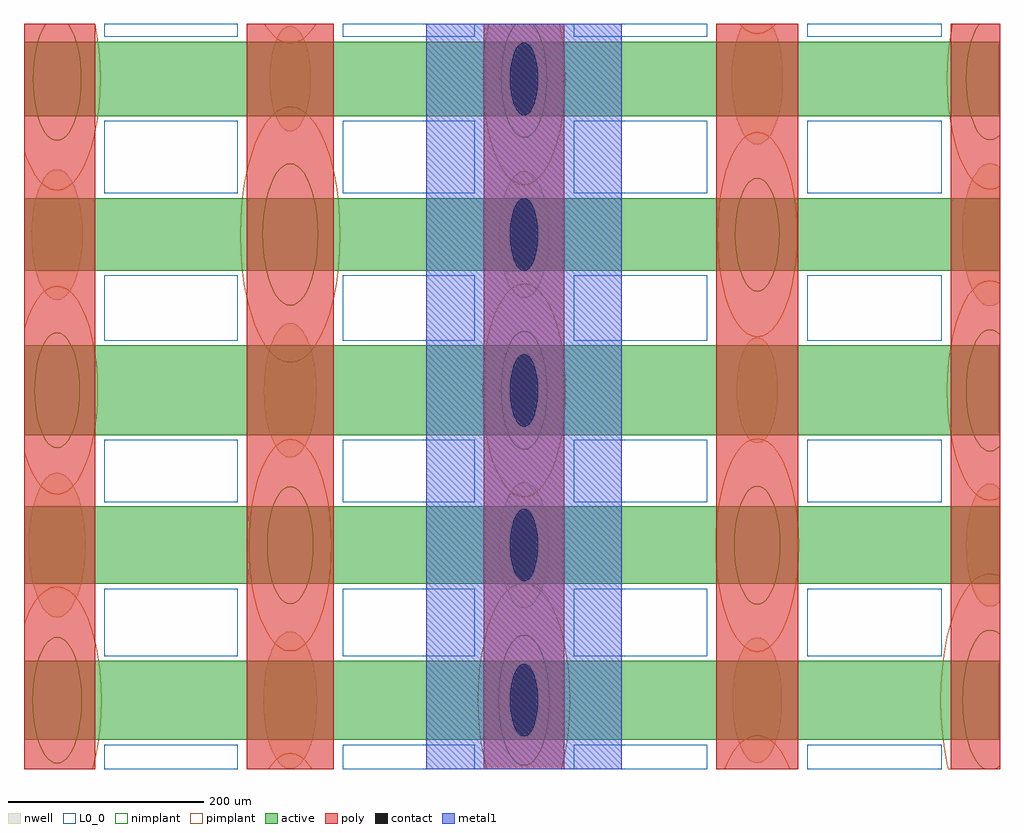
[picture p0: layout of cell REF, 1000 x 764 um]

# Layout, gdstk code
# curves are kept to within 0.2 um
import gdstk
lib = gdstk.Library(unit=1e-6, precision=1e-09)
def R(c, l, rs):  # rectangles x0, y0, x1, y1
    for r in rs: c.add(gdstk.rectangle(r[:2], r[2:], *l))
def P(c, l, *ps):  # polygons
    for p in ps: c.add(gdstk.Polygon(p, *l))
L0_0 = (0, 0)
active = (1, 0)
nwell = (2, 0)
poly = (3, 0)
nimplant = (4, 0)
pimplant = (5, 0)
contact = (6, 0)
metal1 = (7, 0)

ref = lib.new_cell('REF')
R(ref, L0_0, [(82.23,0,218.872,25.085), (326.667,0,461.779,25.085), (563.039,0,699.887,25.085), (802.755,0,940.079,25.085), (82.23,116.033,218.872,185.249), (326.667,116.033,461.779,185.249), (563.039,116.033,699.887,185.249), (802.755,116.033,940.079,185.249), (82.23,273.718,218.872,337.834), (326.667,273.718,461.779,337.834), (563.039,273.718,699.887,337.834), (802.755,273.718,940.079,337.834), (82.23,438.991,218.872,506.098), (326.667,438.991,461.779,506.098), (563.039,438.991,699.887,506.098), (802.755,438.991,940.079,506.098), (82.23,590.103,218.872,664.305), (326.667,590.103,461.779,664.305), (563.039,590.103,699.887,664.305), (802.755,590.103,940.079,664.305), (82.23,750.696,218.872,764), (326.667,750.696,461.779,764), (563.039,750.696,699.887,764), (802.755,750.696,940.079,764)])
R(ref, active, [(0,30.303,1000,111.314), (0,189.969,1000,269.347), (0,342.205,1000,434.416), (0,510.674,1000,585.044), (0,669.364,1000,745.638)])
P(ref, nwell, [(754.744,640.633),(758.124,642.354),(761.387,645.19),(764.478,649.092),(767.343,653.994),(769.934,659.81),(772.206,666.443),(774.121,673.779),(775.645,681.691),(776.753,690.045),(777.425,698.698),(777.65,707.501),(777.425,716.304),(776.753,724.957),(775.645,733.311),(774.121,741.223),(772.206,748.559),(769.934,755.192),(767.343,761.009),(765.595,764),(737.015,764),(735.267,761.009),(732.676,755.192),(730.404,748.559),(728.489,741.223),(726.965,733.311),(725.857,724.957),(725.185,716.304),(724.959,707.501),(725.185,698.698),(725.857,690.045),(726.965,681.691),(728.489,673.779),(730.404,666.443),(732.676,659.81),(735.267,653.994),(738.132,649.092),(741.223,645.19),(744.486,642.354),(747.866,640.633),(751.305,640.056)],
  [(275.59,653.669),(278.311,655.055),(280.938,657.338),(283.426,660.479),(285.733,664.425),(287.819,669.108),(289.648,674.447),(291.189,680.353),(292.416,686.723),(293.308,693.448),(294.031,707.501),(293.308,721.554),(292.416,728.279),(291.189,734.649),(289.648,740.555),(287.819,745.894),(285.733,750.577),(283.426,754.523),(280.938,757.664),(278.311,759.947),(275.59,761.333),(272.821,761.797),(270.053,761.333),(267.332,759.947),(264.705,757.664),(262.217,754.523),(259.91,750.577),(257.824,745.894),(255.995,740.555),(254.453,734.649),(252.334,721.554),(251.793,714.588),(251.793,700.414),(252.334,693.448),(254.453,680.353),(255.995,674.447),(257.824,669.108),(259.91,664.425),(262.217,660.479),(264.705,657.338),(267.332,655.055),(270.053,653.669),(272.821,653.205)],
  [(993.495,475.08),(997.174,476.953),(1000,479.409),(1000,616.309),(997.174,618.765),(993.495,620.638),(989.753,621.266),(986.01,620.638),(982.331,618.765),(978.779,615.678),(975.415,611.431),(972.297,606.097),(969.477,599.765),(967.003,592.546),(964.92,584.562),(963.261,575.951),(962.055,566.858),(961.323,557.44),(961.078,547.859),(961.323,538.277),(962.055,528.86),(963.261,519.767),(964.92,511.155),(967.003,503.172),(969.477,495.952),(972.297,489.621),(975.415,484.287),(978.779,480.04),(982.331,476.953),(986.01,475.08),(989.753,474.452)],
  [(37.35,481.228),(40.718,482.943),(43.97,485.768),(47.05,489.657),(49.905,494.541),(52.487,500.337),(54.751,506.946),(56.659,514.256),(58.178,522.14),(59.282,530.465),(59.952,539.087),(60.176,547.859),(59.952,556.631),(59.282,565.253),(58.178,573.578),(56.659,581.462),(54.751,588.771),(52.487,595.381),(49.905,601.177),(47.05,606.061),(43.97,609.949),(40.718,612.775),(37.35,614.49),(33.924,615.065),(30.497,614.49),(27.129,612.775),(23.877,609.949),(20.797,606.061),(17.942,601.177),(15.36,595.381),(13.096,588.771),(11.188,581.462),(9.67,573.578),(8.566,565.253),(7.896,556.631),(7.671,547.859),(7.896,539.087),(8.566,530.465),(9.67,522.14),(11.188,514.256),(13.096,506.946),(15.36,500.337),(17.942,494.541),(20.797,489.657),(23.877,485.768),(27.129,482.943),(30.497,481.228),(33.924,480.653)],
  [(515.682,483.06),(518.958,484.728),(522.12,487.476),(525.115,491.257),(527.892,496.007),(530.403,501.644),(532.605,508.071),(534.46,515.18),(535.937,522.848),(537.011,530.943),(537.662,539.328),(537.881,547.859),(537.662,556.39),(537.011,564.775),(535.937,572.87),(534.46,580.538),(532.605,587.646),(530.403,594.074),(527.892,599.711),(525.115,604.461),(522.12,608.242),(518.958,610.99),(515.682,612.658),(512.35,613.217),(509.018,612.658),(505.742,610.99),(502.58,608.242),(499.585,604.461),(496.808,599.711),(494.297,594.074),(492.095,587.646),(490.24,580.538),(488.763,572.87),(487.69,564.775),(487.038,556.39),(486.82,547.859),(487.038,539.328),(487.69,530.943),(488.763,522.848),(490.24,515.18),(492.095,508.071),(494.297,501.644),(496.808,496.007),(499.585,491.257),(502.58,487.476),(505.742,484.728),(509.018,483.06),(512.35,482.501)],
  [(276.345,319.796),(279.808,321.56),(283.152,324.465),(286.319,328.463),(289.254,333.485),(291.909,339.445),(294.237,346.242),(296.199,353.758),(297.761,361.865),(298.896,370.425),(299.585,379.29),(299.816,388.311),(299.585,397.331),(298.896,406.196),(297.761,414.756),(296.199,422.863),(294.237,430.379),(291.909,437.176),(289.254,443.136),(286.319,448.158),(283.152,452.156),(279.808,455.062),(276.345,456.825),(272.821,457.416),(269.298,456.825),(265.835,455.062),(262.491,452.156),(259.324,448.158),(256.388,443.136),(253.733,437.176),(251.405,430.379),(249.443,422.863),(247.882,414.756),(246.747,406.196),(246.058,397.331),(245.827,388.311),(246.058,379.29),(246.747,370.425),(247.882,361.865),(249.443,353.758),(251.405,346.242),(253.733,339.445),(256.388,333.485),(259.324,328.463),(262.491,324.465),(265.835,321.56),(269.298,319.796),(272.821,319.205)],
  [(754.074,334.465),(756.796,335.851),(759.423,338.135),(761.912,341.277),(764.22,345.224),(766.306,349.908),(768.136,355.249),(769.677,361.156),(770.905,367.527),(771.797,374.254),(772.52,388.311),(771.797,402.367),(770.905,409.094),(769.677,415.466),(768.136,421.372),(766.306,426.713),(764.22,431.398),(761.912,435.344),(759.423,438.486),(756.796,440.77),(754.074,442.156),(751.305,442.62),(748.536,442.156),(745.814,440.77),(743.186,438.486),(740.697,435.344),(738.39,431.398),(736.304,426.713),(734.474,421.372),(732.932,415.466),(731.705,409.094),(730.813,402.367),(730.09,388.311),(730.813,374.254),(732.932,361.156),(734.474,355.249),(736.304,349.908),(738.39,345.224),(740.697,341.277),(743.186,338.135),(745.814,335.851),(748.536,334.465),(751.305,334.001)],
  [(37.726,155.718),(41.464,157.621),(45.072,160.757),(48.49,165.072),(51.658,170.491),(54.523,176.923),(57.036,184.258),(59.153,192.369),(60.838,201.118),(62.063,210.356),(62.806,219.923),(63.056,229.658),(62.806,239.392),(62.063,248.96),(60.838,258.197),(59.153,266.946),(57.036,275.058),(54.523,282.392),(51.658,288.824),(48.49,294.244),(45.072,298.558),(41.464,301.694),(37.726,303.597),(33.924,304.235),(30.121,303.597),(26.384,301.694),(22.775,298.558),(19.358,294.244),(16.189,288.824),(13.324,282.392),(10.812,275.058),(8.695,266.946),(7.009,258.197),(5.785,248.96),(5.041,239.392),(4.792,229.658),(5.041,219.923),(5.785,210.356),(7.009,201.118),(8.695,192.369),(10.812,184.258),(13.324,176.923),(16.189,170.491),(19.358,165.072),(22.775,160.757),(26.384,157.621),(30.121,155.718),(33.924,155.08)],
  [(515.655,165.389),(518.904,167.043),(522.04,169.769),(525.011,173.519),(527.765,178.23),(530.255,183.821),(532.439,190.196),(534.279,197.246),(535.744,204.851),(536.809,212.88),(537.455,221.197),(537.672,229.658),(537.455,238.119),(536.809,246.435),(535.744,254.465),(534.279,262.069),(532.439,269.12),(530.255,275.495),(527.765,281.086),(525.011,285.796),(522.04,289.547),(518.904,292.272),(515.655,293.927),(512.35,294.481),(509.045,293.927),(505.796,292.272),(502.66,289.547),(499.689,285.796),(496.935,281.086),(494.445,275.495),(492.261,269.12),(490.421,262.069),(488.956,254.465),(487.891,246.435),(487.245,238.119),(487.028,229.658),(487.245,221.197),(487.891,212.88),(488.956,204.851),(490.421,197.246),(492.261,190.196),(494.445,183.821),(496.935,178.23),(499.689,173.519),(502.66,169.769),(505.796,167.043),(509.045,165.389),(512.35,164.834)],
  [(992.98,166.903),(996.152,168.519),(1000,172.172),(1000,287.143),(996.152,290.797),(992.98,292.412),(989.753,292.954),(986.525,292.412),(983.353,290.797),(980.291,288.135),(977.39,284.474),(974.701,279.874),(972.269,274.415),(970.137,268.19),(968.34,261.306),(966.91,253.88),(965.87,246.04),(965.239,237.919),(965.028,229.658),(965.239,221.396),(965.87,213.275),(966.91,205.435),(968.34,198.01),(970.137,191.126),(972.269,184.901),(974.701,179.442),(977.39,174.842),(980.291,171.18),(983.353,168.519),(986.525,166.903),(989.753,166.362)],
  [(276.425,0.732),(279.967,2.536),(283.387,5.508),(286.626,9.597),(289.629,14.733),(292.344,20.829),(294.726,27.78),(296.732,35.468),(298.329,43.76),(299.49,52.515),(300.195,61.582),(300.431,70.808),(300.195,80.034),(299.49,89.102),(298.329,97.857),(296.732,106.149),(294.726,113.836),(292.344,120.787),(289.629,126.883),(286.626,132.02),(283.387,136.109),(279.967,139.081),(276.425,140.884),(272.821,141.489),(269.218,140.884),(265.675,139.081),(262.256,136.109),(259.016,132.02),(256.014,126.883),(253.298,120.787),(250.917,113.836),(248.911,106.149),(247.313,97.857),(246.152,89.102),(245.448,80.034),(245.212,70.808),(245.448,61.582),(246.152,52.515),(247.313,43.76),(248.911,35.468),(250.917,27.78),(253.298,20.829),(256.014,14.733),(259.016,9.597),(262.256,5.508),(265.675,2.536),(269.218,0.732),(272.821,0.127)],
  [(754.605,6.639),(757.848,8.291),(760.98,11.012),(763.946,14.757),(766.696,19.46),(769.182,25.043),(771.363,31.408),(773.2,38.447),(774.663,46.04),(775.726,54.057),(776.371,62.36),(776.587,70.808),(776.371,79.256),(775.726,87.56),(774.663,95.576),(773.2,103.169),(771.363,110.209),(769.182,116.574),(766.696,122.156),(763.946,126.859),(760.98,130.604),(757.848,133.325),(754.605,134.977),(751.305,135.531),(748.005,134.977),(744.761,133.325),(741.63,130.604),(738.664,126.859),(735.914,122.156),(733.428,116.574),(731.247,110.209),(729.41,103.169),(727.947,95.576),(726.884,87.56),(726.239,79.256),(726.023,70.808),(726.239,62.36),(726.884,54.057),(727.947,46.04),(729.41,38.447),(731.247,31.408),(733.428,25.043),(735.914,19.46),(738.664,14.757),(741.63,11.012),(744.761,8.291),(748.005,6.639),(751.305,6.086)])
R(ref, poly, [(0,0,72.914,764), (228.188,0,317.454,764), (470.991,0,553.709,764), (709.218,0,793.392,764), (949.442,0,1000,764)])
P(ref, nimplant, [(992.967,644.99),(996.127,646.599),(1000,650.288),(1000,764),(978.939,764),(977.438,762.105),(974.759,757.523),(972.337,752.085),(970.213,745.884),(968.423,739.026),(966.998,731.63),(965.963,723.82),(965.334,715.731),(965.123,707.501),(965.334,699.271),(965.963,691.182),(966.998,683.373),(968.423,675.976),(970.213,669.118),(972.337,662.917),(974.759,657.479),(977.438,652.897),(980.327,649.25),(983.378,646.599),(986.538,644.99),(989.753,644.45)],
  [(37.166,644.451),(40.353,646.074),(43.43,648.748),(46.344,652.427),(49.046,657.049),(51.489,662.534),(53.632,668.788),(55.437,675.704),(56.874,683.165),(57.919,691.042),(58.552,699.2),(58.765,707.501),(58.552,715.802),(57.919,723.96),(56.874,731.837),(55.437,739.298),(53.632,746.214),(51.489,752.469),(49.046,757.953),(45.215,764),(22.632,764),(18.801,757.953),(16.358,752.469),(14.216,746.214),(12.411,739.298),(10.973,731.837),(9.929,723.96),(9.295,715.802),(9.082,707.501),(9.295,699.2),(9.929,691.042),(10.973,683.165),(12.411,675.704),(14.216,668.788),(16.358,662.534),(18.801,657.049),(21.503,652.427),(24.417,648.748),(27.494,646.074),(30.681,644.451),(33.924,643.907)],
  [(515.435,647.507),(518.468,649.052),(521.396,651.596),(524.169,655.097),(526.739,659.494),(529.064,664.713),(531.103,670.664),(532.82,677.245),(534.188,684.344),(535.182,691.84),(535.785,699.603),(535.987,707.501),(535.785,715.399),(535.182,723.163),(534.188,730.658),(532.82,737.757),(531.103,744.338),(529.064,750.289),(526.739,755.508),(524.169,759.905),(520.712,764),(503.988,764),(500.531,759.905),(497.961,755.508),(495.636,750.289),(493.597,744.338),(491.88,737.757),(490.512,730.658),(489.518,723.163),(488.915,715.399),(488.713,707.501),(488.915,699.603),(489.518,691.84),(490.512,684.344),(491.88,677.245),(493.597,670.664),(495.636,664.713),(497.961,659.494),(500.531,655.097),(503.304,651.596),(506.232,649.052),(509.265,647.507),(512.35,646.99)],
  [(276.545,475.443),(280.206,477.307),(283.74,480.378),(287.087,484.604),(290.19,489.912),(292.996,496.212),(295.457,503.395),(297.53,511.339),(299.181,519.908),(300.381,528.955),(301.109,538.325),(301.353,547.859),(301.109,557.393),(300.381,566.763),(299.181,575.81),(297.53,584.379),(295.457,592.323),(292.996,599.506),(290.19,605.806),(287.087,611.114),(283.74,615.34),(280.206,618.411),(276.545,620.275),(272.821,620.899),(269.097,620.275),(265.437,618.411),(261.903,615.34),(258.556,611.114),(255.453,605.806),(252.647,599.506),(250.186,592.323),(248.112,584.379),(246.462,575.81),(245.262,566.763),(244.534,557.393),(244.29,547.859),(244.534,538.325),(245.262,528.955),(246.462,519.908),(248.112,511.339),(250.186,503.395),(252.647,496.212),(255.453,489.912),(258.556,484.604),(261.903,480.378),(265.437,477.307),(269.097,475.443),(272.821,474.818)],
  [(754.285,489.913),(757.214,491.405),(760.042,493.862),(762.72,497.243),(765.203,501.491),(767.448,506.531),(769.417,512.279),(771.077,518.636),(772.397,525.493),(773.357,532.732),(773.94,540.23),(773.94,555.488),(773.357,562.986),(772.397,570.225),(771.077,577.082),(769.417,583.439),(767.448,589.186),(765.203,594.227),(762.72,598.475),(760.042,601.856),(757.214,604.313),(754.285,605.805),(751.305,606.305),(748.325,605.805),(745.396,604.313),(742.568,601.856),(739.89,598.475),(737.407,594.227),(735.161,589.186),(733.192,583.439),(731.533,577.082),(730.212,570.225),(729.252,562.986),(728.474,547.859),(729.252,532.732),(730.212,525.493),(731.533,518.636),(733.192,512.279),(735.161,506.531),(737.407,501.491),(739.89,497.243),(742.568,493.862),(745.396,491.405),(748.325,489.913),(751.305,489.413)],
  [(992.95,326.139),(996.092,327.739),(1000,331.478),(1000,445.143),(996.092,448.882),(992.95,450.482),(989.753,451.019),(986.555,450.482),(983.413,448.882),(980.379,446.245),(977.505,442.617),(974.841,438.06),(972.432,432.652),(970.319,426.485),(968.539,419.665),(967.122,412.308),(966.092,404.541),(965.467,396.496),(965.257,388.311),(965.467,380.126),(966.092,372.081),(967.122,364.313),(968.539,356.957),(970.319,350.136),(972.432,343.969),(974.841,338.561),(977.505,334.004),(980.379,330.376),(983.413,327.739),(986.555,326.139),(989.753,325.602)],
  [(515.457,327.9),(518.51,329.455),(521.458,332.017),(524.251,335.542),(526.84,339.97),(529.18,345.225),(531.233,351.218),(532.963,357.845),(534.34,364.993),(535.341,372.54),(535.948,380.357),(536.152,388.311),(535.948,396.264),(535.341,404.081),(534.34,411.628),(532.963,418.777),(531.233,425.404),(529.18,431.396),(526.84,436.651),(524.251,441.079),(521.458,444.604),(518.51,447.166),(515.457,448.721),(512.35,449.242),(509.243,448.721),(506.19,447.166),(503.242,444.604),(500.449,441.079),(497.861,436.651),(495.52,431.396),(493.467,425.404),(491.737,418.777),(490.36,411.628),(489.36,404.081),(488.752,396.264),(488.549,388.311),(488.752,380.357),(489.36,372.54),(490.36,364.993),(491.737,357.845),(493.467,351.218),(495.52,345.225),(497.861,339.97),(500.449,335.542),(503.242,332.017),(506.19,329.455),(509.243,327.9),(512.35,327.379)],
  [(36.957,329.323),(39.939,330.841),(42.818,333.343),(45.544,336.785),(48.072,341.109),(50.358,346.24),(52.362,352.091),(54.051,358.562),(55.395,365.542),(56.373,372.912),(56.966,380.545),(57.165,388.311),(56.966,396.076),(56.373,403.709),(55.395,411.079),(54.051,418.059),(52.362,424.53),(50.358,430.381),(48.072,435.513),(45.544,439.836),(42.818,443.278),(39.939,445.78),(36.957,447.298),(33.924,447.807),(30.89,447.298),(27.908,445.78),(25.03,443.278),(22.303,439.836),(19.776,435.513),(17.49,430.381),(15.485,424.53),(13.796,418.059),(12.452,411.079),(11.475,403.709),(10.882,396.076),(10.683,388.311),(10.882,380.545),(11.475,372.912),(12.452,365.542),(13.796,358.562),(15.485,352.091),(17.49,346.24),(19.776,341.109),(22.303,336.785),(25.03,333.343),(27.908,330.841),(30.89,329.323),(33.924,328.814)],
  [(754.408,169.315),(757.458,170.868),(760.403,173.428),(763.192,176.949),(765.778,181.372),(768.116,186.621),(770.167,192.607),(771.894,199.226),(773.27,206.366),(774.269,213.905),(774.876,221.713),(775.08,229.658),(774.876,237.602),(774.269,245.41),(773.27,252.949),(771.894,260.089),(770.167,266.709),(768.116,272.694),(765.778,277.944),(763.192,282.367),(760.403,285.888),(757.458,288.447),(754.408,290),(751.305,290.521),(748.202,290),(745.152,288.447),(742.207,285.888),(739.418,282.367),(736.832,277.944),(734.494,272.694),(732.443,266.709),(730.715,260.089),(729.34,252.949),(728.34,245.41),(727.734,237.602),(727.53,229.658),(727.734,221.713),(728.34,213.905),(729.34,206.366),(730.715,199.226),(732.443,192.607),(734.494,186.621),(736.832,181.372),(739.418,176.949),(742.207,173.428),(745.152,170.868),(748.202,169.315),(751.305,168.795)],
  [(275.906,169.683),(278.937,171.227),(281.864,173.77),(284.636,177.27),(287.206,181.666),(289.53,186.883),(291.568,192.832),(293.285,199.412),(294.652,206.508),(295.646,214.001),(296.249,221.762),(296.451,229.658),(296.249,237.553),(295.646,245.314),(294.652,252.807),(293.285,259.904),(291.568,266.483),(289.53,272.432),(287.206,277.649),(284.636,282.045),(281.864,285.545),(278.937,288.089),(275.906,289.632),(272.821,290.15),(269.737,289.632),(266.706,288.089),(263.779,285.545),(261.006,282.045),(258.436,277.649),(256.113,272.432),(254.075,266.483),(252.357,259.904),(250.99,252.807),(249.997,245.314),(249.394,237.553),(249.192,229.658),(249.394,221.762),(249.997,214.001),(250.99,206.508),(252.357,199.412),(254.075,192.832),(256.113,186.883),(258.436,181.666),(261.006,177.27),(263.779,173.77),(266.706,171.227),(269.737,169.683),(272.821,169.165)],
  [(997.07,0.899),(1000,3.445),(1000,138.171),(997.07,140.717),(993.443,142.564),(989.753,143.183),(986.062,142.564),(982.435,140.717),(978.933,137.674),(975.617,133.487),(972.542,128.227),(969.762,121.985),(967.323,114.867),(965.269,106.996),(963.633,98.505),(962.444,89.54),(961.723,80.255),(961.481,70.808),(961.723,61.361),(962.444,52.076),(963.633,43.111),(965.269,34.621),(967.323,26.749),(969.762,19.631),(972.542,13.389),(975.617,8.129),(978.933,3.942),(982.435,0.899),(984.2,0),(995.305,0)],
  [(515.777,4.166),(519.146,5.881),(522.398,8.708),(525.478,12.596),(528.334,17.481),(530.916,23.279),(533.181,29.889),(535.089,37.2),(536.608,45.085),(537.712,53.411),(538.382,62.035),(538.607,70.808),(538.382,79.582),(537.712,88.205),(536.608,96.531),(535.089,104.417),(533.181,111.727),(530.916,118.338),(528.334,124.135),(525.478,129.02),(522.398,132.909),(519.146,135.735),(515.777,137.45),(512.35,138.025),(508.923,137.45),(505.554,135.735),(502.302,132.909),(499.222,129.02),(496.366,124.135),(493.784,118.338),(491.519,111.727),(489.611,104.417),(488.092,96.531),(486.988,88.205),(486.318,79.582),(486.093,70.808),(486.318,62.035),(486.988,53.411),(488.092,45.085),(489.611,37.2),(491.519,29.889),(493.784,23.279),(496.366,17.481),(499.222,12.596),(502.302,8.708),(505.554,5.881),(508.923,4.166),(512.35,3.591)],
  [(37.234,6.432),(40.488,8.089),(43.63,10.819),(46.606,14.576),(49.364,19.294),(51.859,24.894),(54.046,31.28),(55.89,38.342),(57.357,45.96),(58.423,54.003),(59.071,62.333),(59.288,70.808),(59.071,79.284),(58.423,87.614),(57.357,95.657),(55.89,103.274),(54.046,110.336),(51.859,116.722),(49.364,122.322),(46.606,127.041),(43.63,130.797),(40.488,133.528),(37.234,135.185),(33.924,135.74),(30.613,135.185),(27.359,133.528),(24.217,130.797),(21.242,127.041),(18.483,122.322),(15.989,116.722),(13.801,110.336),(11.958,103.274),(10.49,95.657),(9.424,87.614),(8.777,79.284),(8.56,70.808),(8.777,62.333),(9.424,54.003),(10.49,45.96),(11.958,38.342),(13.801,31.28),(15.989,24.894),(18.483,19.294),(21.242,14.576),(24.217,10.819),(27.359,8.089),(30.613,6.432),(33.924,5.876)])
P(ref, pimplant, [(279.181,744.588),(285.433,747.771),(291.468,753.016),(297.185,760.233),(299.387,764),(246.256,764),(248.458,760.233),(254.175,753.016),(260.21,747.771),(266.461,744.588),(272.821,743.521)],
  [(517.904,599.512),(523.362,602.292),(528.632,606.872),(533.624,613.173),(538.251,621.089),(542.435,630.483),(546.105,641.195),(549.197,653.041),(551.658,665.819),(553.447,679.31),(554.533,693.284),(554.897,707.501),(554.533,721.718),(553.447,735.692),(551.658,749.183),(549.197,761.961),(548.665,764),(476.035,764),(473.042,749.183),(471.253,735.692),(470.167,721.718),(469.803,707.501),(470.167,693.284),(471.253,679.31),(473.042,665.819),(475.503,653.041),(478.595,641.195),(482.265,630.483),(486.449,621.089),(491.077,613.173),(496.068,606.872),(501.338,602.292),(506.797,599.512),(512.35,598.581)],
  [(757.166,754.298),(762.926,757.232),(768.488,762.065),(770.021,764),(732.589,764),(734.122,762.065),(739.684,757.232),(745.444,754.298),(751.305,753.315)],
  [(995.539,594.98),(1000,597.252),(1000,764),(951.311,764),(948.795,750.932),(946.93,736.875),(945.799,722.315),(945.42,707.501),(945.799,692.687),(946.93,678.127),(948.795,664.07),(951.359,650.755),(954.581,638.412),(958.405,627.25),(962.765,617.462),(967.586,609.214),(972.787,602.649),(978.278,597.877),(983.966,594.98),(989.753,594.009)],
  [(39.76,594.012),(45.497,596.933),(51.035,601.746),(56.281,608.368),(61.144,616.687),(65.541,626.56),(69.398,637.817),(72.647,650.267),(75.234,663.696),(77.114,677.874),(78.255,692.56),(78.638,707.501),(78.255,722.442),(77.114,737.128),(75.234,751.306),(72.789,764),(0,764),(0,633.29),(2.306,626.56),(6.703,616.687),(11.567,608.368),(16.812,601.746),(22.351,596.933),(28.087,594.012),(33.924,593.032)],
  [(279.525,417.511),(286.113,420.866),(292.475,426.394),(298.5,434),(304.085,443.555),(309.136,454.894),(313.565,467.823),(317.297,482.123),(320.269,497.546),(322.428,513.831),(323.739,530.698),(324.178,547.859),(323.739,565.02),(322.428,581.887),(320.269,598.171),(317.297,613.595),(313.565,627.895),(309.136,640.824),(304.085,652.163),(298.5,661.718),(292.475,669.324),(286.113,674.852),(279.525,678.207),(272.821,679.332),(266.118,678.207),(259.529,674.852),(253.168,669.324),(247.143,661.718),(241.557,652.163),(236.507,640.824),(232.077,627.895),(228.345,613.595),(225.374,598.171),(223.215,581.887),(221.904,565.02),(221.465,547.859),(221.904,530.698),(223.215,513.831),(225.374,497.546),(228.345,482.123),(232.077,467.823),(236.507,454.894),(241.557,443.555),(247.143,434),(253.168,426.394),(259.529,420.866),(266.118,417.511),(272.821,416.386)],
  [(756.669,443.556),(761.941,446.241),(767.031,450.664),(771.852,456.751),(776.322,464.396),(780.363,473.469),(783.908,483.816),(786.894,495.258),(789.272,507.6),(790.999,520.63),(792.048,534.127),(792.4,547.859),(792.048,561.591),(790.999,575.087),(789.272,588.118),(786.894,600.46),(783.908,611.902),(780.363,622.248),(776.322,631.322),(771.852,638.967),(767.031,645.053),(761.941,649.477),(756.669,652.162),(751.305,653.062),(745.941,652.162),(740.669,649.477),(735.579,645.053),(730.757,638.967),(726.288,631.322),(722.246,622.248),(718.702,611.902),(715.716,600.46),(713.338,588.118),(711.61,575.087),(710.562,561.591),(710.21,547.859),(710.562,534.127),(711.61,520.63),(713.338,507.6),(715.716,495.258),(718.702,483.816),(722.246,473.469),(726.288,464.396),(730.757,456.751),(735.579,450.664),(740.669,446.241),(745.941,443.556),(751.305,442.656)],
  [(995.508,276.402),(1000,278.689),(1000,497.932),(995.508,500.22),(989.753,501.185),(983.997,500.22),(978.341,497.339),(972.879,492.593),(967.707,486.063),(962.911,477.86),(958.575,468.125),(954.772,457.024),(951.568,444.748),(949.017,431.506),(947.163,417.525),(946.038,403.044),(945.661,388.311),(946.038,373.577),(947.163,359.096),(949.017,345.115),(951.568,331.873),(954.772,319.597),(958.575,308.496),(962.911,298.761),(967.707,290.558),(972.879,284.028),(978.341,279.282),(983.997,276.402),(989.753,275.436)],
  [(517.942,279.571),(523.439,282.37),(528.745,286.982),(533.771,293.327),(538.431,301.298),(542.644,310.757),(546.339,321.543),(549.453,333.472),(551.932,346.339),(553.733,359.924),(554.826,373.995),(555.193,388.311),(554.826,402.626),(553.733,416.697),(551.932,430.282),(549.453,443.149),(546.339,455.078),(542.644,465.864),(538.431,475.324),(533.771,483.294),(528.745,489.639),(523.439,494.251),(517.942,497.05),(512.35,497.988),(506.758,497.05),(501.262,494.251),(495.955,489.639),(490.929,483.294),(486.269,475.324),(482.056,465.864),(478.361,455.078),(475.247,443.149),(472.769,430.282),(470.967,416.697),(469.874,402.626),(469.507,388.311),(469.874,373.995),(470.967,359.924),(472.769,346.339),(475.247,333.472),(478.361,321.543),(482.056,310.757),(486.269,301.298),(490.929,293.327),(495.955,286.982),(501.262,282.37),(506.758,279.571),(512.35,278.633)],
  [(39.384,282.133),(44.751,284.866),(49.933,289.368),(54.841,295.564),(59.39,303.347),(63.505,312.584),(67.113,323.116),(70.153,334.763),(72.573,347.327),(74.332,360.593),(75.399,374.332),(75.757,388.311),(75.399,402.289),(74.332,416.029),(72.573,429.294),(70.153,441.858),(67.113,453.505),(63.505,464.038),(59.39,473.274),(54.841,481.057),(49.933,487.253),(44.751,491.756),(39.384,494.489),(33.924,495.405),(28.463,494.489),(23.096,491.756),(17.915,487.253),(13.007,481.057),(8.457,473.274),(4.343,464.038),(0,450.689),(0,325.932),(4.343,312.584),(8.457,303.347),(13.007,295.564),(17.915,289.368),(23.096,284.866),(28.463,282.133),(33.924,281.216)],
  [(756.891,121.041),(762.381,123.837),(767.682,128.443),(772.702,134.782),(777.356,142.743),(781.565,152.192),(785.256,162.966),(788.366,174.881),(790.842,187.733),(792.641,201.303),(793.733,215.358),(794.099,229.658),(793.733,243.957),(792.641,258.012),(790.842,271.582),(788.366,284.434),(785.256,296.35),(781.565,307.124),(777.356,316.572),(772.702,324.534),(767.682,330.872),(762.381,335.478),(756.891,338.274),(751.305,339.211),(745.719,338.274),(740.229,335.478),(734.928,330.872),(729.908,324.534),(725.253,316.572),(721.045,307.124),(717.354,296.35),(714.244,284.434),(711.768,271.582),(709.969,258.012),(708.877,243.957),(708.511,229.658),(708.877,215.358),(709.969,201.303),(711.768,187.733),(714.244,174.881),(717.354,162.966),(721.045,152.192),(725.253,142.743),(729.908,134.782),(734.928,128.443),(740.229,123.837),(745.719,121.041),(751.305,120.104)],
  [(278.373,121.703),(283.83,124.482),(289.098,129.06),(294.088,135.36),(298.714,143.273),(302.897,152.664),(306.565,163.372),(309.656,175.215),(312.117,187.989),(313.906,201.476),(314.991,215.445),(315.355,229.658),(314.991,243.87),(313.906,257.839),(312.117,271.327),(309.656,284.101),(306.565,295.943),(302.897,306.652),(298.714,316.043),(294.088,323.956),(289.098,330.255),(283.83,334.833),(278.373,337.612),(272.821,338.544),(267.27,337.612),(261.813,334.833),(256.544,330.255),(251.555,323.956),(246.929,316.043),(242.746,306.652),(239.077,295.943),(235.986,284.101),(233.525,271.327),(231.737,257.839),(230.652,243.87),(230.288,229.658),(230.652,215.445),(231.737,201.476),(233.525,187.989),(235.986,175.215),(239.077,163.372),(242.746,152.664),(246.929,143.273),(251.555,135.36),(256.544,129.06),(261.813,124.482),(267.27,121.703),(272.821,120.772)],
  [(1000,198.133),(996.395,199.969),(989.753,201.083),(983.11,199.969),(976.582,196.644),(970.278,191.167),(964.308,183.63),(958.773,174.163),(953.769,162.927),(949.38,150.115),(945.682,135.946),(942.737,120.662),(940.598,104.526),(939.299,87.813),(938.864,70.808),(939.299,53.804),(940.598,37.09),(942.737,20.954),(945.682,5.671),(947.162,0),(1000,0)],
  [(553.28,10.313),(556.014,24.507),(558.002,39.493),(559.208,55.016),(559.612,70.808),(559.208,86.601),(558.002,102.123),(556.014,117.109),(553.28,131.304),(549.846,144.463),(545.769,156.362),(541.121,166.797),(535.981,175.589),(530.436,182.589),(524.582,187.676),(518.519,190.764),(512.35,191.799),(506.181,190.764),(500.118,187.676),(494.264,182.589),(488.719,175.589),(483.579,166.797),(478.931,156.362),(474.855,144.463),(471.42,131.304),(468.686,117.109),(466.698,102.123),(465.492,86.601),(465.088,70.808),(465.492,55.016),(466.698,39.493),(468.686,24.507),(471.42,10.313),(474.112,0),(550.589,0)],
  [(73.462,12.369),(76.104,26.081),(78.023,40.558),(79.188,55.553),(79.579,70.808),(79.188,86.064),(78.023,101.058),(76.104,115.535),(73.462,129.247),(70.144,141.959),(66.207,153.453),(61.717,163.533),(56.751,172.027),(51.395,178.789),(45.74,183.703),(39.883,186.686),(33.924,187.686),(27.964,186.686),(22.107,183.703),(16.452,178.789),(11.096,172.027),(6.131,163.533),(1.641,153.453),(0,148.663),(0,0),(70.233,0)],
  [(781.123,9.288),(775.795,18.401),(770.049,25.655),(763.982,30.927),(757.698,34.127),(751.305,35.2),(744.912,34.127),(738.628,30.927),(732.561,25.655),(726.814,18.401),(721.487,9.288),(717.35,0),(785.26,0)],
  [(293.737,2.549),(288.829,8.744),(283.648,13.247),(278.281,15.98),(272.821,16.896),(267.361,15.98),(261.995,13.247),(256.813,8.744),(251.906,2.549),(250.416,0),(295.227,0)])
P(ref, contact, [(514.259,670.381),(516.135,671.337),(517.947,672.911),(519.663,675.077),(521.253,677.798),(523.953,684.709),(525.016,688.781),(526.477,697.811),(526.85,702.614),(526.85,712.388),(526.477,717.191),(525.016,726.221),(523.953,730.293),(521.253,737.204),(519.663,739.925),(517.947,742.091),(516.135,743.665),(514.259,744.621),(512.35,744.941),(510.441,744.621),(508.565,743.665),(506.753,742.091),(505.038,739.925),(503.447,737.204),(500.747,730.293),(499.684,726.221),(498.223,717.191),(497.85,712.388),(497.85,702.614),(498.223,697.811),(499.684,688.781),(500.747,684.709),(503.447,677.798),(505.038,675.077),(506.753,672.911),(508.565,671.337),(510.441,670.381),(512.35,670.061)],
  [(514.259,510.739),(516.135,511.695),(517.947,513.269),(519.663,515.435),(521.253,518.156),(523.953,525.067),(525.016,529.139),(526.477,538.169),(526.85,542.972),(526.85,552.746),(526.477,557.549),(525.016,566.579),(523.953,570.651),(521.253,577.562),(519.663,580.283),(517.947,582.449),(516.135,584.023),(514.259,584.979),(512.35,585.299),(510.441,584.979),(508.565,584.023),(506.753,582.449),(505.038,580.283),(503.447,577.562),(500.747,570.651),(499.684,566.579),(498.223,557.549),(497.85,552.746),(497.85,542.972),(498.223,538.169),(499.684,529.139),(500.747,525.067),(503.447,518.156),(505.038,515.435),(506.753,513.269),(508.565,511.695),(510.441,510.739),(512.35,510.419)],
  [(514.259,351.191),(516.135,352.146),(517.947,353.721),(519.663,355.887),(521.253,358.607),(523.953,365.519),(525.016,369.591),(526.477,378.62),(526.85,383.424),(526.85,393.197),(526.477,398.001),(525.016,407.031),(523.953,411.103),(521.253,418.014),(519.663,420.735),(517.947,422.901),(516.135,424.475),(514.259,425.43),(512.35,425.751),(510.441,425.43),(508.565,424.475),(506.753,422.901),(505.038,420.735),(503.447,418.014),(500.747,411.103),(499.684,407.031),(498.223,398.001),(497.85,393.197),(497.85,383.424),(498.223,378.62),(499.684,369.591),(500.747,365.519),(503.447,358.607),(505.038,355.887),(506.753,353.721),(508.565,352.146),(510.441,351.191),(512.35,350.871)],
  [(514.259,192.538),(516.135,193.493),(517.947,195.068),(519.663,197.234),(521.253,199.955),(523.953,206.866),(525.016,210.938),(526.477,219.967),(526.85,224.771),(526.85,234.545),(526.477,239.348),(525.016,248.378),(523.953,252.45),(521.253,259.361),(519.663,262.082),(517.947,264.248),(516.135,265.822),(514.259,266.777),(512.35,267.098),(510.441,266.777),(508.565,265.822),(506.753,264.248),(505.038,262.082),(503.447,259.361),(500.747,252.45),(499.684,248.378),(498.223,239.348),(497.85,234.545),(497.85,224.771),(498.223,219.967),(499.684,210.938),(500.747,206.866),(503.447,199.955),(505.038,197.234),(506.753,195.068),(508.565,193.493),(510.441,192.538),(512.35,192.218)],
  [(514.259,33.689),(516.135,34.644),(517.947,36.218),(519.663,38.384),(521.253,41.105),(523.953,48.016),(525.016,52.088),(526.477,61.118),(526.85,65.921),(526.85,75.695),(526.477,80.498),(525.016,89.528),(523.953,93.6),(521.253,100.511),(519.663,103.232),(517.947,105.398),(516.135,106.972),(514.259,107.928),(512.35,108.248),(510.441,107.928),(508.565,106.972),(506.753,105.398),(505.038,103.232),(503.447,100.511),(500.747,93.6),(499.684,89.528),(498.223,80.498),(497.85,75.695),(497.85,65.921),(498.223,61.118),(499.684,52.088),(500.747,48.016),(503.447,41.105),(505.038,38.384),(506.753,36.218),(508.565,34.644),(510.441,33.689),(512.35,33.368)])
R(ref, metal1, [(412.35,0,612.35,764)])

lib.write_gds('REF.gds')
